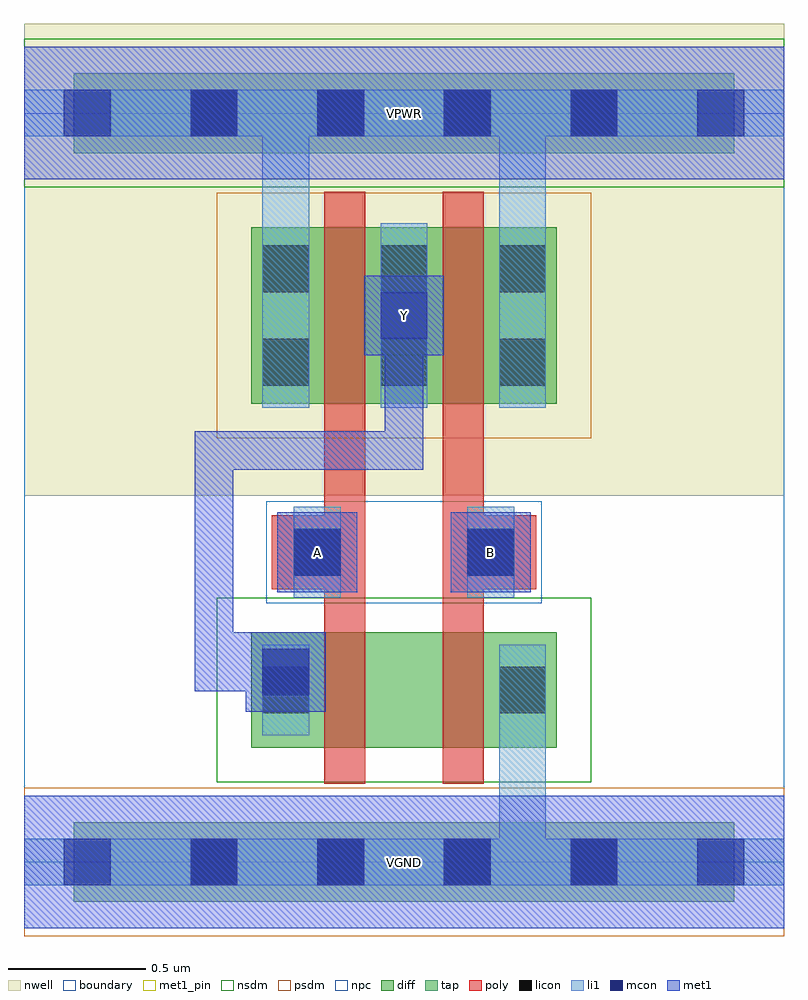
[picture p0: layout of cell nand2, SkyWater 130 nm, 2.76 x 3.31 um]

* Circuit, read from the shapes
.subckt nand2 A B VGND VPWR Y
XM1 n1 A Y VGND sky130_fd_pr__nfet_01v8 w=0.42 l=0.15
XM2 VGND B n1 VGND sky130_fd_pr__nfet_01v8 w=0.42 l=0.15
XM3 Y A VPWR VPWR sky130_fd_pr__pfet_01v8 w=0.64 l=0.15
XM4 VPWR B Y VPWR sky130_fd_pr__pfet_01v8 w=0.64 l=0.15
.ends

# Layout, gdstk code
import gdstk
lib = gdstk.Library(unit=1e-6, precision=1e-09)
def R(c, l, rs):  # rectangles x0, y0, x1, y1
    for r in rs: c.add(gdstk.rectangle(r[:2], r[2:], *l))
def A(c, l, x, y, w, h, nx, ny, dx, dy):  # array of equal rectangles
    R(c, l, [(x+i*dx, y+j*dy, x+i*dx+w, y+j*dy+h) for i in range(nx) for j in range(ny)])
nwell = (64, 20)
diff = (65, 20)
tap = (65, 44)
poly = (66, 20)
licon = (66, 44)
li1 = (67, 20)
mcon = (67, 44)
met1_pin = (68, 16)
met1 = (68, 20)
nsdm = (93, 44)
psdm = (94, 20)
npc = (95, 20)
boundary = (235, 4)

nand2 = lib.new_cell('nand2')
R(nand2, nwell, [(0,1.33,2.76,3.045)])
R(nand2, diff, [(0.825,0.415,1.935,0.835), (0.825,1.665,1.935,2.305)])
R(nand2, tap, [(0.18,-0.145,2.58,0.145), (0.18,2.575,2.58,2.865)])
R(nand2, poly, [(1.09,0.285,1.24,2.435), (1.52,0.285,1.67,2.435), (0.9,0.99,1.23,1.26), (1.53,0.99,1.86,1.26)])
A(nand2, licon, 0.605, -0.085, 0.17, 0.17, 4, 2, 0.46, 2.72)
A(nand2, licon, 0.865, 1.73, 0.17, 0.17, 3, 2, 0.43, 0.34)
R(nand2, licon, [(0.865,0.54,1.035,0.71), (1.725,0.54,1.895,0.71), (0.98,1.04,1.15,1.21), (1.61,1.04,1.78,1.21)])
A(nand2, li1, 0.865, 1.65, 0.17, 0.67, 3, 1, 0.43, 0)
R(nand2, li1, [(0,-0.085,2.76,0.085), (1.725,-0.085,1.895,0.79), (0.865,0.46,1.035,0.79), (1.725,0.46,1.895,0.79), (0.98,0.96,1.15,1.29), (1.61,0.96,1.78,1.29), (0.865,1.65,1.035,2.805), (1.725,1.65,1.895,2.805), (0,2.635,2.76,2.805)])
A(nand2, mcon, 0.145, -0.085, 0.17, 0.17, 6, 2, 0.46, 2.72)
R(nand2, mcon, [(0.865,0.605,1.035,0.775), (0.98,1.04,1.15,1.21), (1.61,1.04,1.78,1.21), (1.295,1.9,1.465,2.07)])
R(nand2, met1_pin, [(0,-0.24,2.76,0.24), (0.92,0.98,1.21,1.27), (1.55,0.98,1.84,1.27), (1.235,1.84,1.525,2.13), (0,2.48,2.76,2.96)])
R(nand2, met1, [(0,-0.24,2.76,0.24), (0.805,0.545,1.095,0.835), (0.62,0.62,0.76,1.565), (0.62,0.62,0.875,0.76), (0.735,0.62,1.02,0.76), (0.76,0.62,0.805,0.835), (0.92,0.98,1.21,1.27), (1.55,0.98,1.84,1.27), (0.62,1.425,1.45,1.565), (1.31,1.425,1.45,2.025), (1.235,1.84,1.525,2.13), (1.31,1.885,1.45,2.025), (0,2.48,2.76,2.96)])
R(nand2, nsdm, [(0.7,0.29,2.06,0.96), (0,2.45,2.76,2.99)])
R(nand2, psdm, [(0,-0.27,2.76,0.27), (0.7,1.54,2.06,2.43)])
R(nand2, npc, [(0.88,0.94,1.88,1.31)])
R(nand2, boundary, [(0,0,2.76,2.72)])
nand2.add(gdstk.Label('A', (1.065,1.125), layer=68, texttype=5))
nand2.add(gdstk.Label('B', (1.695,1.125), layer=68, texttype=5))
nand2.add(gdstk.Label('Y', (1.38,1.985), layer=68, texttype=5))
nand2.add(gdstk.Label('VPWR', (1.38,2.72), layer=68, texttype=5))
nand2.add(gdstk.Label('VGND', (1.38,0), layer=68, texttype=5))
nand2.add(gdstk.Label('A', (1.065,1.125), layer=68, texttype=16))
nand2.add(gdstk.Label('B', (1.695,1.125), layer=68, texttype=16))
nand2.add(gdstk.Label('Y', (1.38,1.985), layer=68, texttype=16))
nand2.add(gdstk.Label('VPWR', (1.38,2.72), layer=68, texttype=16))
nand2.add(gdstk.Label('VGND', (1.38,0), layer=68, texttype=16))

lib.write_gds('nand2.gds')
